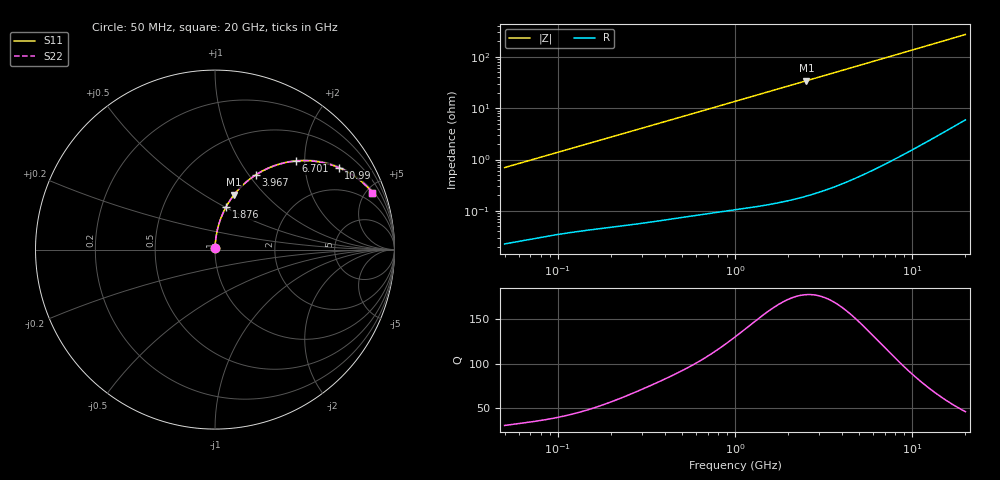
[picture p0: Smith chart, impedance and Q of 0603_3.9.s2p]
!Murata Part Number: LQW18AN2N2D10
!These Parameters are Measured in Series Mode Connection
!  o--[Z]--o
!Port1  Port2
!  o-------o
!Freq. Start=50[MHz] Stop=20[GHz], 401[Steps]
# Hz S RI R 50
!Freq.(Hz) S11(Real) S11(Imag) S21(Real) S21(Imag) S12(Real) S12(Imag) S22(Real) S22(Imag)
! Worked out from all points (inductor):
!   401 points, 50 MHz to 20 GHz, reference 50 ohm
!   read as one part in series: L = 2.21 nH near 51.52 MHz
!   highest Q = 177 at 2.531 GHz (marker M1), where L = 2.16 nH
!   S11 on the Smith chart (normalised r, x): 50 MHz: 1.00, +0.01; 1.876 GHz: 1.00, +0.51; 3.967 GHz: 1.01, +1.08; 6.701 GHz: 1.01, +1.82; 10.99 GHz: 1.04, +2.99; 20 GHz: 1.12, +5.48
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5e7  0.000275 0.00697  0.9997 -0.00697  0.9997 -0.00697  0.000275 0.00697
5.152053e7  0.000282 0.00718  0.9997 -0.00718  0.9997 -0.00718  0.000282 0.00718
1.364002e8  0.000756 0.0187  0.9992 -0.0187  0.9992 -0.0187  0.000756 0.0187
2.33884e8  0.00153 0.0319  0.9985 -0.0319  0.9985 -0.0319  0.00153 0.0319
3.721004e8  0.0032 0.0506  0.9968 -0.0506  0.9968 -0.0506  0.0032 0.0506
6.285508e8  0.00808 0.0848  0.9919 -0.0848  0.9919 -0.0848  0.00808 0.0848
1e9  0.0191 0.1331  0.9809 -0.1331  0.9809 -0.1331  0.0191 0.1331
1.369645e9  0.0345 0.1792  0.9655 -0.1792  0.9655 -0.1792  0.0345 0.1792
1.875929e9  0.062 0.2383  0.938 -0.2383  0.938 -0.2383  0.062 0.2383
2.531158e9  0.1068 0.306  0.8932 -0.306  0.8932 -0.306  0.1068 0.306
2.728004e9  0.1218 0.3242  0.8782 -0.3242  0.8782 -0.3242  0.1218 0.3242
3.314454e9  0.1695 0.3723  0.8305 -0.3723  0.8305 -0.3723  0.1695 0.3723
3.967106e9  0.2259 0.4151  0.7741 -0.4151  0.7741 -0.4151  0.2259 0.4151
5.273168e9  0.3395 0.4701  0.6605 -0.4701  0.6605 -0.4701  0.3395 0.4701
6.701223e9  0.453 0.4937  0.547 -0.4937  0.547 -0.4937  0.453 0.4937
7.442007e9  0.505 0.4956  0.495 -0.4956  0.495 -0.4956  0.505 0.4956
9.041845e9  0.6004 0.4847  0.3996 -0.4847  0.3996 -0.4847  0.6004 0.4847
1.098561e10  0.6884 0.457  0.3116 -0.457  0.3116 -0.457  0.6884 0.457
1.276073e10  0.7481 0.4271  0.2519 -0.4271  0.2519 -0.4271  0.7481 0.4271
1.482269e10  0.7995 0.3924  0.2005 -0.3924  0.2005 -0.3924  0.7995 0.3924
1.747767e10  0.8462 0.3514  0.1538 -0.3514  0.1538 -0.3514  0.8462 0.3514
2e10  0.8773 0.3175  0.1227 -0.3175  0.1227 -0.3175  0.8773 0.3175
